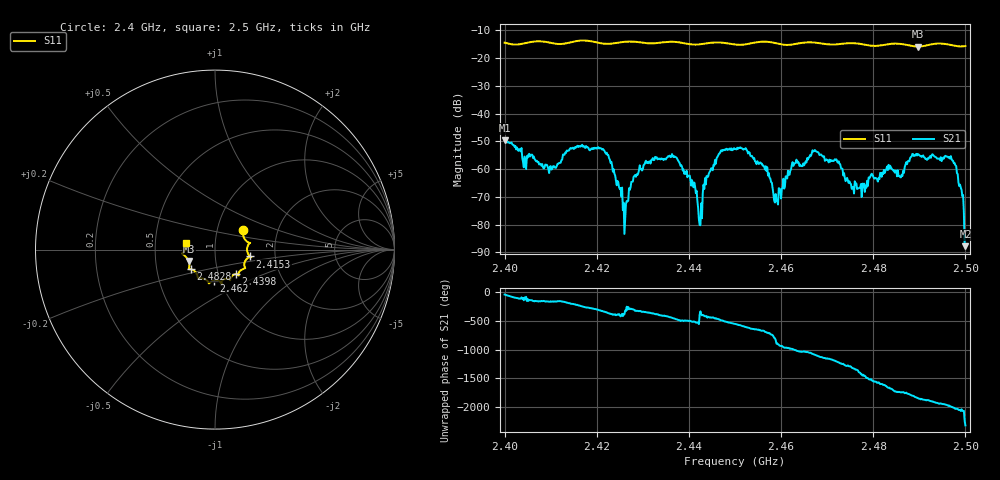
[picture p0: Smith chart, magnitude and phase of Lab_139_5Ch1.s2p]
# Hz S RI R 50
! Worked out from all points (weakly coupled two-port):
!   601 points, 2.4 GHz to 2.5 GHz, reference 50 ohm
!   highest |S21| = -49.58 dB at 2.4 GHz (marker M1); lowest = -87.8 dB at 2.5 GHz (marker M2)
!   lowest |S11| = -15.9 dB at 2.4897 GHz (marker M3), VSWR 1.38, Z = 36.9 - j4.84 ohm
!   |S11| at or under -10 dB: start of sweep to end of sweep
!   S12 and S22 are empty: the file has one direction only
!   S11 on the Smith chart (normalised r, x): 2.4 GHz: 1.33, +0.29; 2.4153 GHz: 1.48, -0.12; 2.4398 GHz: 1.21, -0.34; 2.462 GHz: 0.93, -0.33; 2.4828 GHz: 0.74, -0.17; 2.5 GHz: 0.72, +0.06
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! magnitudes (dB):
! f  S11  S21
! 2.4 GHz  -14.5  -49.6
! 2.4098 GHz  -14.5  -59.2
! 2.4153 GHz  -14.0  -52.0
! 2.4167 GHz  -13.7  -51.5
! 2.422 GHz  -14.9  -54.5
! 2.4262 GHz  -14.2  -78.1
! 2.428 GHz  -14.1  -62.8
! 2.4333 GHz  -14.6  -56.2
! 2.4398 GHz  -15.0  -62.4
! 2.4423 GHz  -15.1  -80.1
! 2.4465 GHz  -14.4  -54.5
! 2.45 GHz  -15.1  -52.8
! 2.4565 GHz  -14.1  -60.1
! 2.4588 GHz  -14.7  -69.0
! 2.462 GHz  -15.2  -60.5
! 2.4667 GHz  -14.4  -54.3
! 2.477 GHz  -14.9  -66.8
! 2.4828 GHz  -15.1  -60.1
! 2.4833 GHz  -15.0  -58.5
! 2.4897 GHz  -15.9  -54.6
! 2.4973 GHz  -15.5  -57.0
! 2.5 GHz  -15.7  -87.8
